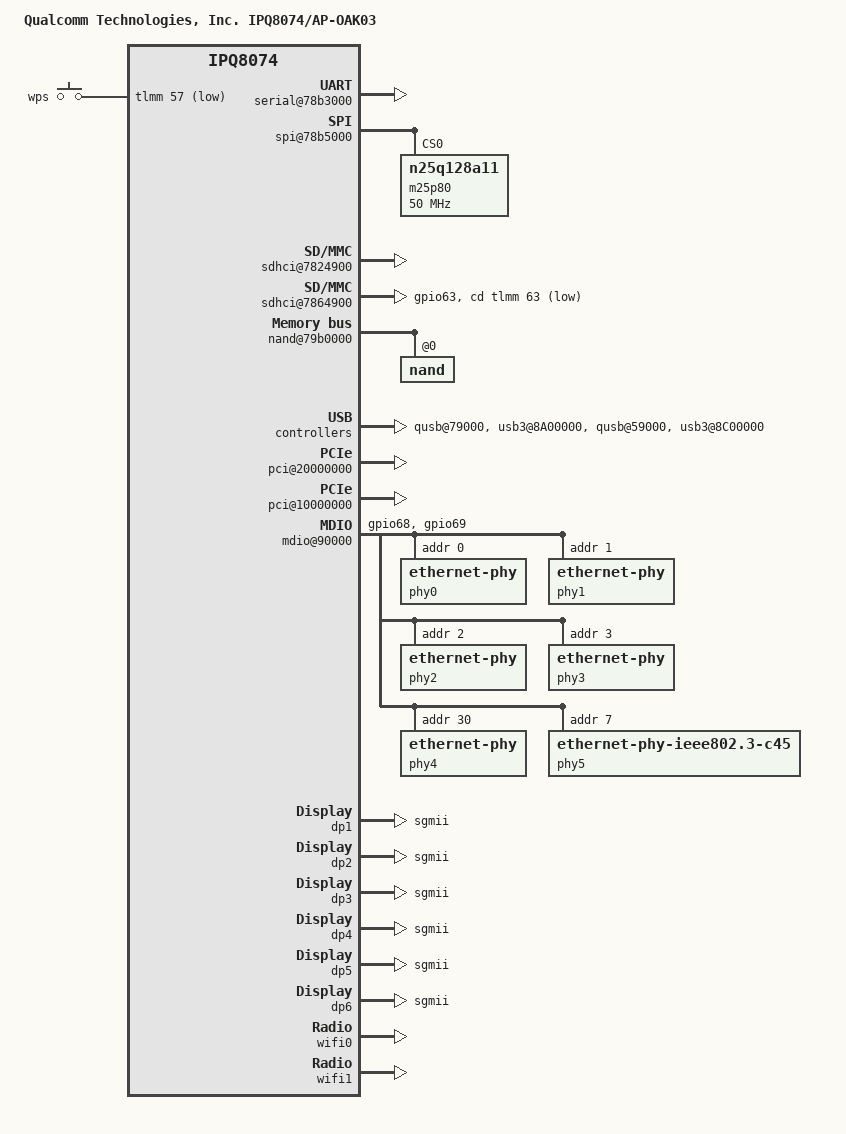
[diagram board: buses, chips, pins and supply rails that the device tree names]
// SPDX-License-Identifier: GPL-2.0-only
/dts-v1/;
/* Copyright (c) 2020 The Linux Foundation. All rights reserved.
 */
#include "ipq8074.dtsi"
#include "ipq8074-oak-cpu.dtsi"

/ {
	#address-cells = <0x2>;
	#size-cells = <0x2>;
	model = "Qualcomm Technologies, Inc. IPQ8074/AP-OAK03";
	compatible = "qcom,ipq8074-ap-oak03", "qcom,ipq8074";
	qcom,msm-id = <0x143 0x0>;
	interrupt-parent = <&intc>;

	aliases {
		serial0 = &blsp1_uart5;
		/* Aliases as required by u-boot to patch MAC addresses */
		ethernet0 = "/soc/dp1";
		ethernet1 = "/soc/dp2";
		ethernet2 = "/soc/dp3";
		ethernet3 = "/soc/dp4";
		ethernet4 = "/soc/dp5";
		ethernet5 = "/soc/dp6";
	};

	chosen {
		stdout-path = "serial0";
	};

	soc {

		pinctrl@1000000 {
			button_pins: button_pins {
				wps_button {
					pins = "gpio57";
					function = "gpio";
					drive-strength = <8>;
					bias-pull-up;
				};
			};

			sd_pins: sd_pins {
				mux {
					pins = "gpio63";
					function = "sd_card";
					drive-strength = <8>;
					bias-pull-up;
				};
			};

			mdio_pins: mdio_pinmux {
				mux_0 {
					pins = "gpio68";
					function = "mdc";
					drive-strength = <8>;
					bias-pull-up;
				};
				mux_1 {
					pins = "gpio69";
					function = "mdio";
					drive-strength = <8>;
					bias-pull-up;
				};
			};

			uniphy_pins: uniphy_pinmux {
				mux {
					pins = "gpio60";
					function = "rx2";
					bias-disable;
				};
				sfp_tx {
					pins = "gpio59";
					function = "gpio";
					drive-strength = <8>;
					bias-pull-down;
					output-low;
				};
			};
			ledc_pins: ledc_pinmux {
				led_clk {
					pins = "gpio18";
					function = "led0";
					drive-strength = <8>;
					bias-pull-down;
				};
				led_data {
					pins = "gpio19";
					function = "led1";
					drive-strength = <8>;
					bias-pull-down;
				};
				led_clr {
					pins = "gpio20";
					function = "led2";
					drive-strength = <8>;
					bias-pull-up;
				};
			};
		};

		serial@78b3000 {
			status = "ok";
		};

		spi@78b5000 {
			status = "ok";
			pinctrl-0 = <&spi_0_pins>;
			pinctrl-names = "default";
			cs-select = <0>;

			m25p80@0 {
				  compatible = "n25q128a11";
				  #address-cells = <1>;
				  #size-cells = <1>;
				  reg = <0>;
				  spi-max-frequency = <50000000>;
			};
		};

		sdhci@7824900 {
			status = "ok";
		};

		sd-pwrseq {
			status = "ok";
		};

		sdhci@7864900 {
			pinctrl-0 = <&sd_pins>;
			pinctrl-names = "default";
			cd-gpios = <&tlmm 63 GPIO_ACTIVE_LOW>;
			status = "ok";
		};

		dma@7984000 {
			 status = "ok";
		};

		nand@79b0000 {
			status = "ok";

			nand@0 {
				reg = <0>;
				#address-cells = <1>;
				#size-cells = <1>;

				nand-ecc-strength = <4>;
				nand-ecc-step-size = <512>;
				nand-bus-width = <8>;
			};
		};

		qusb@79000 {
			status = "ok";
		};

		ssphy@78000 {
			status = "ok";
		};

		usb3@8A00000 {
			status = "ok";
		};

		qusb@59000 {
			status = "ok";
		};

		ssphy@58000 {
			status = "ok";
		};

		usb3@8C00000 {
			status = "ok";
		};

		phy@84000 {
			status = "ok";
		};

		phy@86000 {
			status = "ok";
		};

		pci@20000000 {
			perst-gpio = <&tlmm 58 1>;
			status = "ok";
		};

		phy@8e000 {
			status = "ok";
		};

		pci@10000000 {
			perst-gpio = <&tlmm 61 0x1>;
			status = "ok";
		};

		gpio_keys {
			compatible = "gpio-keys";
			pinctrl-0 = <&button_pins>;
			pinctrl-names = "default";
			status = "ok";

			button@1 {
				label = "wps";
				linux,code = <KEY_WPS_BUTTON>;
				gpios = <&tlmm 57 GPIO_ACTIVE_LOW>;
				linux,input-type = <1>;
				debounce-interval = <60>;
			};
		};

		mdio@90000 {
			pinctrl-0 = <&mdio_pins>;
			pinctrl-names = "default";
			phy-reset-gpio = <&tlmm 37 0>;
			phy0: ethernet-phy@0 {
				reg = <0>;
			};
			phy1: ethernet-phy@1 {
				reg = <1>;
			};
			phy2: ethernet-phy@2 {
				reg = <2>;
			};
			phy3: ethernet-phy@3 {
				reg = <3>;
			};
			phy4: ethernet-phy@4 {
				reg = <30>;
			};
			phy5: ethernet-phy@5 {
				compatible ="ethernet-phy-ieee802.3-c45";
				reg = <7>;
			};
		};

		ess-switch@3a000000 {
			pinctrl-0 = <&uniphy_pins>;
			pinctrl-names = "default";
			switch_cpu_bmp = <0x1>;  /* cpu port bitmap */
			switch_lan_bmp = <0x3e>; /* lan port bitmap */
			switch_wan_bmp = <0x40>; /* wan port bitmap */
			switch_mac_mode = <0xb>; /* mac mode for uniphy instance0*/
			switch_mac_mode1 = <0xe>; /* mac mode for uniphy instance1*/
			switch_mac_mode2 = <0xd>; /* mac mode for uniphy instance2*/
			bm_tick_mode = <0>; /* bm tick mode */
			tm_tick_mode = <0>; /* tm tick mode */
			qcom,port_phyinfo {
				port@0 {
					port_id = <1>;
					phy_address = <0>;
				};
				port@1 {
					port_id = <2>;
					phy_address = <1>;
				};
				port@2 {
					port_id = <3>;
					phy_address = <2>;
				};
				port@3 {
					port_id = <4>;
					phy_address = <3>;
				};
				port@4 {
					port_id = <5>;
					phy_address = <30>;
					phy_i2c_address = <30>;
					phy-i2c-mode; /*i2c access phy */
					media-type = "sfp"; /* fiber mode */
				};
				port@5 {
					port_id = <6>;
					phy_address = <7>;
					ethernet-phy-ieee802.3-c45;
				};
			};
		};

		dp1 {
			device_type = "network";
			compatible = "qcom,nss-dp";
			qcom,id = <1>;
			reg = <0x3a001000 0x200>;
			qcom,mactype = <0>;
			local-mac-address = [000000000000];
			qcom,link-poll = <1>;
			qcom,phy-mdio-addr = <0>;
			phy-mode = "sgmii";
		};

		dp2 {
			device_type = "network";
			compatible = "qcom,nss-dp";
			qcom,id = <2>;
			reg = <0x3a001200 0x200>;
			qcom,mactype = <0>;
			local-mac-address = [000000000000];
			qcom,link-poll = <1>;
			qcom,phy-mdio-addr = <1>;
			phy-mode = "sgmii";
		};

		dp3 {
			device_type = "network";
			compatible = "qcom,nss-dp";
			qcom,id = <3>;
			reg = <0x3a001400 0x200>;
			qcom,mactype = <0>;
			local-mac-address = [000000000000];
			qcom,link-poll = <1>;
			qcom,phy-mdio-addr = <2>;
			phy-mode = "sgmii";
		};

		dp4 {
			device_type = "network";
			compatible = "qcom,nss-dp";
			qcom,id = <4>;
			reg = <0x3a001600 0x200>;
			qcom,mactype = <0>;
			local-mac-address = [000000000000];
			qcom,link-poll = <1>;
			qcom,phy-mdio-addr = <3>;
			phy-mode = "sgmii";
		};

		dp5 {
			device_type = "network";
			compatible = "qcom,nss-dp";
			qcom,id = <5>;
			reg = <0x3a003000 0x3fff>;
			qcom,mactype = <1>;
			local-mac-address = [000000000000];
			qcom,link-poll = <1>;
			qcom,phy-mdio-addr = <30>;
			phy-mode = "sgmii";
		};

		dp6 {
			device_type = "network";
			compatible = "qcom,nss-dp";
			qcom,id = <6>;
			reg = <0x3a007000 0x3fff>;
			qcom,mactype = <1>;
			local-mac-address = [000000000000];
			qcom,link-poll = <1>;
			qcom,phy-mdio-addr = <7>;
			phy-mode = "sgmii";
		};

		ledc@191E000  {
			pinctrl-0 = <&ledc_pins>;
			pinctrl-names = "default";
			status = "ok";

			led0 {
				label = "ipq::led0";
				linux,default-trigger = "led_wifi_son_green";
			};
			led1 {
				label = "ipq::led1";
				linux,default-trigger = "led_wifi_son_orange";
			};
			led2 {
				label = "ipq::led2";
				linux,default-trigger = "led_wifi_son_blue";
			};
			led3 {
				label = "ipq::led3";
				linux,default-trigger = "led_2g";
			};
			led4 {
				label = "ipq::led4";
				linux,default-trigger = "led_5gl";
			};
			led5 {
				label = "ipq::led5";
				linux,default-trigger = "led_5gh";
			};
			led6 {
				label = "ipq::led6";
				linux,default-trigger = "led_lan";
			};
			led7 {
				label = "ipq::led7";
				linux,default-trigger = "led_wan";
			};
			led8 {
				label = "ipq::led8";
				linux,default-trigger = "led_10g_link";
			};
			led9 {
				label = "ipq::led9";
				linux,default-trigger = "led_sfp";
			};
			led10 {
				label = "ipq::led10";
				linux,default-trigger = "led_bt";
			};
			led11 {
				label = "ipq::led11";
				linux,default-trigger = "none";
			};
			led12 {
				label = "ipq::led12";
				linux,default-trigger = "none";
			};
		};
	};
};

&apc_cpr {
	compatible = "qcom,cpr4-ipq817x-apss-regulator";

	thread@0 {
		apc_vreg: regulator {
			regulator-min-microvolt = <1>;
			regulator-max-microvolt = <2>;
			qcom,cpr-fuse-corners = <2>;
			qcom,cpr-corners = <3>;
			qcom,cpr-speed-bin-corners = <3>;
			qcom,cpr-corner-fmax-map = <1 3>;

			qcom,cpr-voltage-ceiling =
				<840000 904000 944000>;
			qcom,cpr-voltage-floor =
				<592000 648000 712000>;
			qcom,corner-frequencies =
				<1017600000 1382400000 1382400000>;

			qcom,cpr-open-loop-voltage-fuse-adjustment-0 =
				/* Speed bin 0; CPR rev 0..7 */
				< 0      0>,
				< 0      0>,
				< 0      0>,
				< 0      0>,
				< 0      0>,
				< 0      0>,
				< 0      0>,
				< 0      0>;

			qcom,cpr-open-loop-voltage-fuse-adjustment-1 =
				/* Speed bin 0; CPR rev 0..7 */
				<     0      0>,
				<     0      0>,
				<     0      0>,
				< 20000  26000>,
				<     0      0>,
				<     0      0>,
				<     0      0>,
				<     0      0>;

			qcom,cpr-open-loop-voltage-fuse-adjustment-v2-0 =
				/* Speed bin 0; CPR rev 0..7 */
				<     0      0>,
				<     0      0>,
				<     0      0>,
				<     0      0>,
				<     0      0>,
				<     0      0>,
				<     0      0>,
				<     0      0>;

			qcom,cpr-open-loop-voltage-fuse-adjustment-v2-1 =
				/* Speed bin 0; CPR rev 0..7 */
				<     0      0>,
				<     0   7000>,
				<     0      0>,
				<     0      0>,
				<     0      0>,
				<     0      0>,
				<     0      0>,
				<     0      0>;

			qcom,cpr-floor-to-ceiling-max-range =
				< 40000 40000 40000>,
				< 40000 40000 40000>,
				< 40000 40000 40000>,
				< 40000 40000 40000>,
				< 40000 40000 40000>,
				< 40000 40000 40000>,
				< 40000 40000 40000>,
				< 40000 40000 40000>;
		};
	};
};

&wifi0 {
	qcom,board_id = <0x13>;
};

&wifi1 {
	qcom,board_id = <0x213>;
};
